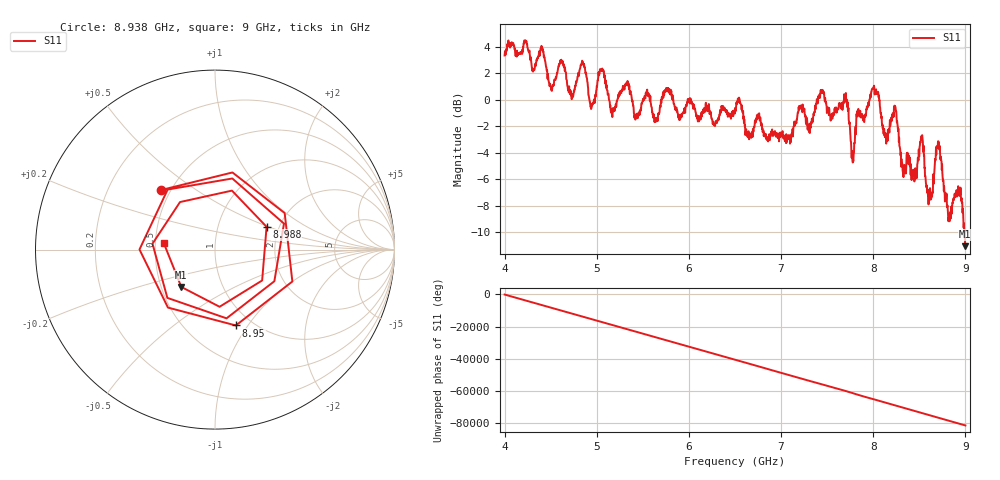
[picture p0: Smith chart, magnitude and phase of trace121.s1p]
! Created with skrf 1.8.0 (http://scikit-rf.org).
# Hz S RI R 50.0
!freq ReS11 ImS11
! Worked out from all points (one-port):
!   1601 points, 4 GHz to 9 GHz, reference 50 ohm
!   lowest |S11| = -11.0 dB at 8.997 GHz (marker M1), VSWR 1.78, Z = 31.7 - j14.3 ohm
!   |S11| at or under -10 dB: 8.987702 GHz to 8.992206 GHz (4.504 MHz wide, 0.0501 % of centre); 8.994243 GHz to end of sweep
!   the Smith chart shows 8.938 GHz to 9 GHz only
!   S11 on the Smith chart (normalised r, x): 8.938 GHz: 0.44, +0.37; 8.95 GHz: 0.84, -0.88; 8.988 GHz: 1.72, +0.49; 9 GHz: 0.56, +0.04
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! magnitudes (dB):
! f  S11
! 4 GHz  3.4
! 4.403 GHz  4.0
! 4.509 GHz  0.8
! 4.625 GHz  2.8
! 4.722 GHz  0.4
! 4.844 GHz  2.9
! 4.941 GHz  -0.7
! 5.053 GHz  2.3
! 5.169 GHz  -1.3
! 5.25 GHz  0.4
! 5.875 GHz  -0.9
! 6.5 GHz  -0.6
! 7.125 GHz  -2.2
! 7.441 GHz  0.8
! 7.7 GHz  0.1
! 7.75 GHz  -2.4
! 8.006 GHz  1.0
! 8.375 GHz  -4.1
! 8.45 GHz  -5.9
! 8.528 GHz  -2.9
! 8.619 GHz  -6.9
! 8.706 GHz  -3.4
! 8.825 GHz  -9.1
! 8.938 GHz  -7.0
! 8.95 GHz  -7.2
! 8.988 GHz  -10.1
! 8.997 GHz  -11.0
! 9 GHz  -10.8
